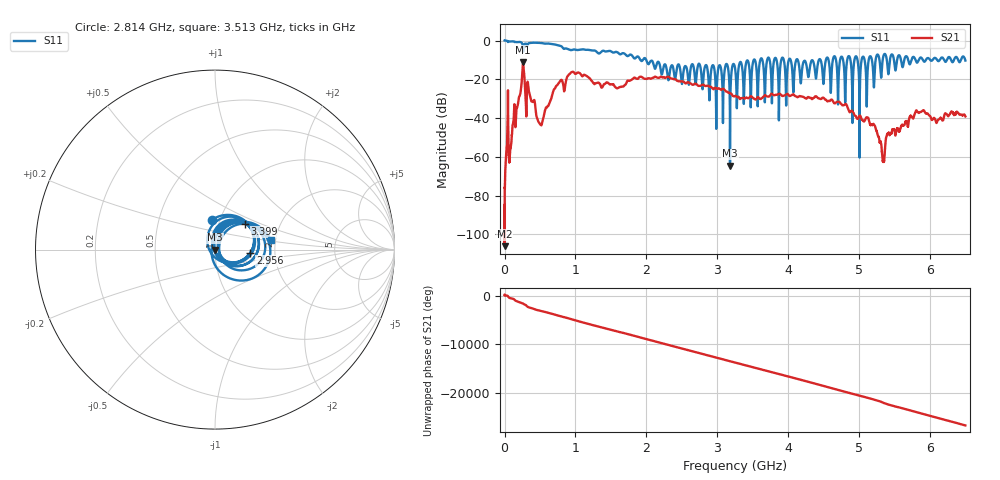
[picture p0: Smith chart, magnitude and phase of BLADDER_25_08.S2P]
!Keysight Technologies,E5063A,MY54503115,A.05.08
!Date: Sun Feb 04 18:26:55 2024
!Data & Calibration Information:
!Freq	S11:NONE(--)	S21:NONE(--)	S12:NONE(--)	S22:NONE(--)
# Hz S dB R 50
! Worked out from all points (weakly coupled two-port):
!   10001 points, 100 kHz to 6.5 GHz, reference 50 ohm
!   highest |S21| = -11.14 dB at 260.1 MHz (marker M1); lowest = -106.1 dB at 750 kHz (marker M2)
!   lowest |S11| = -64.6 dB at 3.18 GHz (marker M3), VSWR 1.00, Z = 50 - j0.0589 ohm
!   |S11| at or under -10 dB: 1.998 GHz to 3.514 GHz (1.516 GHz wide, 55 % of centre); 4.035 GHz to 4.114 GHz (79.54 MHz wide, 1.95 % of centre); 4.135 GHz to 4.433 GHz (298.1 MHz wide, 6.96 % of centre) (the widest 3 of 30)
!   S12 and S22 are empty: the file has one direction only
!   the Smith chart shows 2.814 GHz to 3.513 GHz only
!   S11 on the Smith chart (normalised r, x): 2.814 GHz: 0.92, +0.31; 2.956 GHz: 1.49, -0.06; 3.399 GHz: 1.33, +0.40; 3.513 GHz: 1.88, +0.23
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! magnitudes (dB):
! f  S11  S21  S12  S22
! 100 kHz  0.0  -84.9  -  -
! 750 kHz  0.0  -106.1  -  -
! 37.15 MHz  -0.2  -47.7  -  -
! 87.85 MHz  -0.5  -54.7  -  -
! 260.1 MHz  -5.6  -11.1  -  -
! 503.2 MHz  -1.2  -43.2  -  -
! 771 MHz  -2.6  -21.6  -  -
! 1.084 GHz  -4.5  -17.9  -  -
! 2.167 GHz  -10.9  -19.2  -  -
! 2.814 GHz  -15.7  -23.1  -  -
! 2.956 GHz  -14.1  -24.8  -  -
! 3.131 GHz  -12.1  -26.4  -  -
! 3.18 GHz  -64.6  -27.1  -  -
! 3.25 GHz  -14.1  -28.6  -  -
! 3.399 GHz  -13.2  -29.6  -  -
! 3.513 GHz  -10.1  -29.9  -  -
! 4.334 GHz  -10.2  -30.2  -  -
! 5.119 GHz  -17.0  -39.7  -  -
! 5.338 GHz  -8.9  -62.6  -  -
! 5.417 GHz  -16.8  -47.5  -  -
! 5.822 GHz  -11.3  -36.8  -  -
! 6.5 GHz  -10.3  -39.2  -  -
